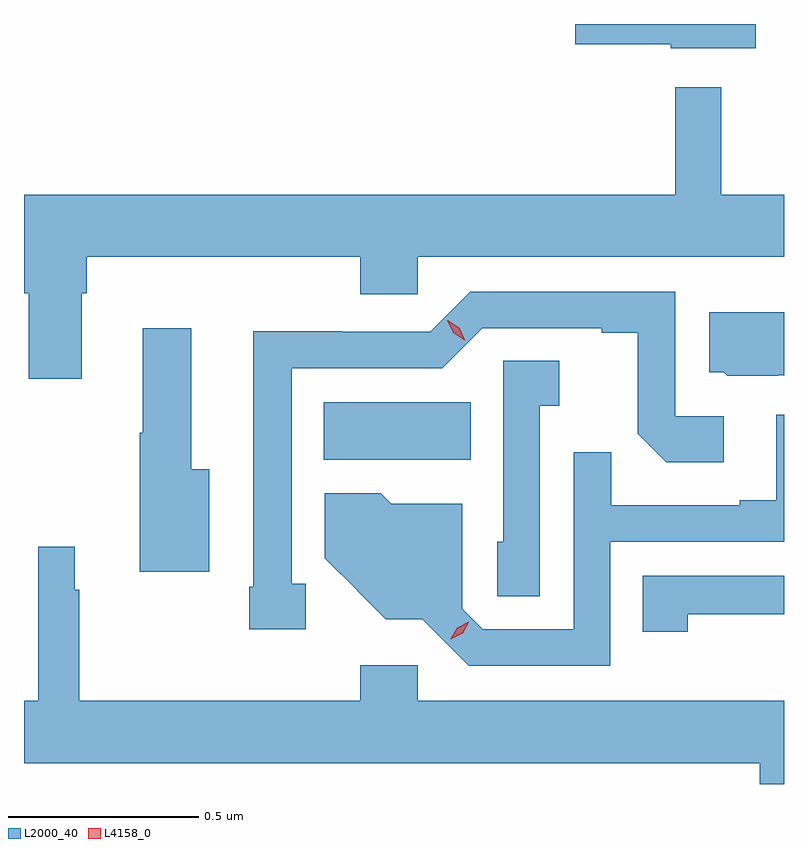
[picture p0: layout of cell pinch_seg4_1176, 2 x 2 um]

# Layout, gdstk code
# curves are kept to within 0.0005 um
import gdstk
lib = gdstk.Library(unit=1e-6, precision=1e-09)
def R(c, l, rs):  # rectangles x0, y0, x1, y1
    for r in rs: c.add(gdstk.rectangle(r[:2], r[2:], *l))
def P(c, l, *ps):  # polygons
    for p in ps: c.add(gdstk.Polygon(p, *l))
L2000_40 = (2000, 40)
L4158_0 = (4158, 0)

pinch_seg4_1176 = lib.new_cell('pinch_seg4_1176')
R(pinch_seg4_1176, L2000_40, [(483.245,789.626,483.632,789.778)])
P(pinch_seg4_1176, L2000_40, [(484.381,790.773),(483.906,790.773),(483.906,790.72),(484.158,790.72),(484.158,790.709),(484.381,790.709)],
  [(482.608,790.064),(482.621,790.064),(482.621,790.16),(483.341,790.16),(483.341,790.062),(483.492,790.062),(483.492,790.16),(484.456,790.16),(484.456,790.324),(484.291,790.324),(484.291,790.606),(484.17,790.606),(484.17,790.324),(482.456,790.324),(482.456,790.064),(482.468,790.064),(482.468,789.84),(482.608,789.84)],
  [(483.198,789.3),(483.16,789.3),(483.16,789.867),(483.557,789.867),(483.662,789.972),(483.977,789.972),(483.977,789.96),(484.071,789.96),(484.071,789.695),(484.146,789.62),(484.297,789.62),(484.297,789.741),(484.17,789.741),(484.17,790.068),(483.63,790.068),(483.525,789.963),(483.293,789.963),(483.293,789.965),(483.059,789.965),(483.059,789.292),(483.049,789.292),(483.049,789.18),(483.198,789.18)],
  [(484.44,789.849),(484.456,789.849),(484.456,790.015),(484.259,790.015),(484.259,789.857),(484.297,789.857),(484.306,789.848),(484.44,789.848)],
  [(482.944,789.601),(482.896,789.601),(482.896,789.973),(482.768,789.973),(482.768,789.697),(482.761,789.697),(482.761,789.332),(482.944,789.332)],
  [(483.813,789.769),(483.865,789.769),(483.865,789.887),(483.717,789.887),(483.717,789.411),(483.702,789.411),(483.702,789.267),(483.813,789.267)],
  [(483.999,789.411),(484.456,789.411),(484.456,789.745),(484.436,789.745),(484.436,789.52),(484.34,789.52),(484.34,789.507),(484.001,789.507),(484.001,789.646),(483.903,789.646),(483.903,789.18),(483.663,789.18),(483.609,789.234),(483.609,789.511),(483.422,789.511),(483.395,789.538),(483.248,789.538),(483.248,789.367),(483.408,789.206),(483.504,789.206),(483.626,789.084),(483.999,789.084)],
  [(484.456,788.992),(483.492,788.992),(483.492,789.085),(483.341,789.085),(483.341,788.992),(482.602,788.992),(482.602,789.284),(482.59,789.284),(482.59,789.397),(482.493,789.397),(482.493,788.992),(482.456,788.992),(482.456,788.828),(484.392,788.828),(484.392,788.773),(484.456,788.773)],
  [(484.203,789.22),(484.456,789.22),(484.456,789.321),(484.084,789.321),(484.084,789.174),(484.203,789.174)])
P(pinch_seg4_1176, L4158_0, [(483.579,789.154),(483.579,789.155),(483.596,789.184),(483.627,789.2),(483.627,789.2),(483.627,789.199),(483.61,789.17),(483.579,789.154)],
  [(483.616,789.941),(483.586,789.961),(483.57,789.993),(483.57,789.994),(483.571,789.994),(483.601,789.974),(483.616,789.942),(483.616,789.941)])

lib.write_gds('pinch_seg4_1176.gds')
